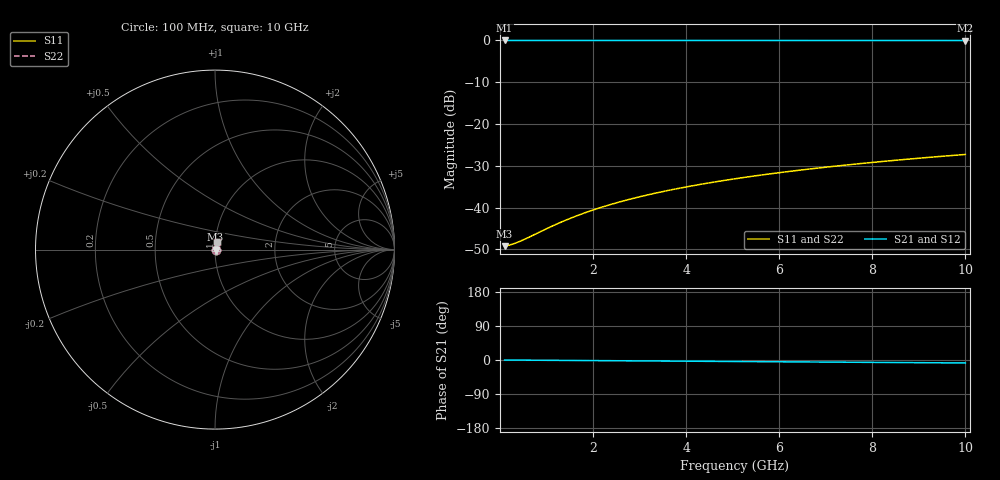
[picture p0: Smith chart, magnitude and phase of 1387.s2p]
# Hz S RI R 50.00
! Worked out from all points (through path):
!   100 points, 100 MHz to 10 GHz, reference 50 ohm
!   highest |S21| = -0.03 dB at 100 MHz (marker M1); lowest = 0.0 dB at 10 GHz (marker M2)
!   group delay of S21, straight-line fit = 2.17 ps
!   lowest |S11| = -49.2 dB at 100 MHz (marker M3), VSWR 1.01, Z = 50.3 + j0.043 ohm
!   |S11| at or under -10 dB: start of sweep to end of sweep
!   |S22| runs from -49.2 to -27.3 dB; largest |S21 - S12| = 0
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1e8  0.00342 0.000427  0.9966 -0.00136  0.9966 -0.00136  0.00342 0.000427
2e8  0.00345 0.000854  0.9965 -0.00272  0.9965 -0.00272  0.00345 0.000854
3e8  0.00347 0.00128  0.9965 -0.00408  0.9965 -0.00408  0.00347 0.00128
4e8  0.00348 0.00171  0.9965 -0.00544  0.9965 -0.00544  0.00348 0.00171
6e8  0.00352 0.00256  0.9965 -0.00816  0.9965 -0.00816  0.00352 0.00256
1e9  0.00359 0.00427  0.9964 -0.0136  0.9964 -0.0136  0.00359 0.00427
1.2e9  0.00362 0.00512  0.9963 -0.0163  0.9963 -0.0163  0.00362 0.00512
1.5e9  0.00369 0.0064  0.9962 -0.0204  0.9962 -0.0204  0.00369 0.0064
1.8e9  0.00376 0.00768  0.9961 -0.0245  0.9961 -0.0245  0.00376 0.00768
2.1e9  0.00384 0.00895  0.9959 -0.0286  0.9959 -0.0286  0.00384 0.00895
2.5e9  0.00396 0.0107  0.9957 -0.034  0.9957 -0.034  0.00396 0.0107
2.9e9  0.00411 0.0124  0.9955 -0.0394  0.9955 -0.0394  0.00411 0.0124
3.4e9  0.00431 0.0145  0.9952 -0.0462  0.9952 -0.0462  0.00431 0.0145
3.8e9  0.00449 0.0162  0.9948 -0.0517  0.9948 -0.0517  0.00449 0.0162
4.2e9  0.00469 0.0179  0.9945 -0.0571  0.9945 -0.0571  0.00469 0.0179
4.6e9  0.0049 0.0196  0.9941 -0.0625  0.9941 -0.0625  0.0049 0.0196
5.1e9  0.0052 0.0217  0.9936 -0.0693  0.9936 -0.0693  0.0052 0.0217
5.9e9  0.00573 0.025  0.9927 -0.0802  0.9927 -0.0802  0.00573 0.025
6.7e9  0.00634 0.0284  0.9916 -0.091  0.9916 -0.091  0.00634 0.0284
7.5e9  0.00702 0.0317  0.9905 -0.1018  0.9905 -0.1018  0.00702 0.0317
8.4e9  0.00787 0.0355  0.989 -0.1139  0.989 -0.1139  0.00787 0.0355
1e10  0.00961 0.0421  0.9859 -0.1355  0.9859 -0.1355  0.00961 0.0421
